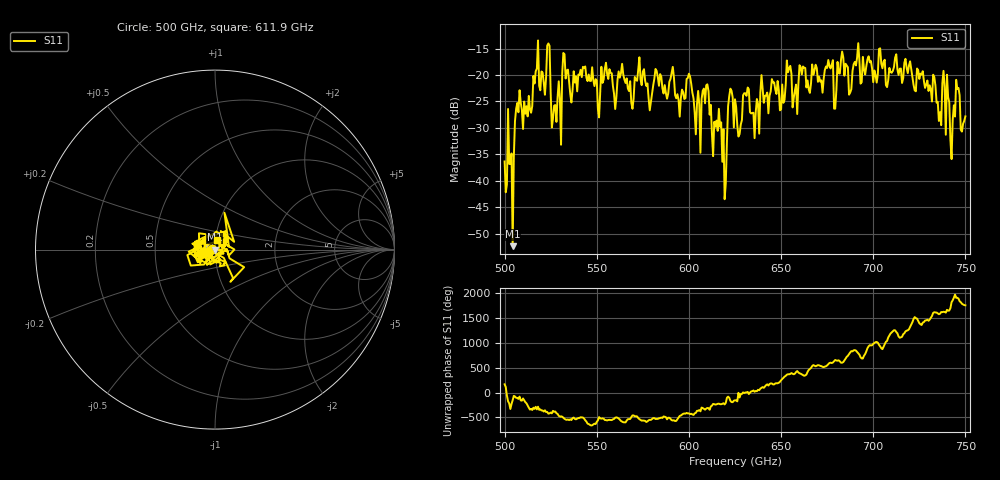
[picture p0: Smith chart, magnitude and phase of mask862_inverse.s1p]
!Created with skrf (http://scikit-rf.org).
# GHz S MA R 50.0
!freq magS11 angS11
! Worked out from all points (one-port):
!   401 points, 500 GHz to 750 GHz, reference 50 ohm
!   lowest |S11| = -52.3 dB at 504.4 GHz (marker M1), VSWR 1.00, Z = 49.8 - j0.106 ohm
!   |S11| at or under -10 dB: start of sweep to end of sweep
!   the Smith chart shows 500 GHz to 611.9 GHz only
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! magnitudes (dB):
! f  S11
! 500 GHz  -36.3
! 504.4 GHz  -52.3
! 506.9 GHz  -25.3
! 513.8 GHz  -26.5
! 516.9 GHz  -19.3
! 523.8 GHz  -14.0
! 526.9 GHz  -25.8
! 531.2 GHz  -19.7
! 562.5 GHz  -20.5
! 579.4 GHz  -25.1
! 590.6 GHz  -19.6
! 593.8 GHz  -23.6
! 600 GHz  -19.8
! 605 GHz  -23.0
! 609.4 GHz  -22.0
! 619.4 GHz  -43.5
! 622.5 GHz  -22.6
! 625 GHz  -24.6
! 656.2 GHz  -26.1
! 676.9 GHz  -18.8
! 680 GHz  -22.9
! 683.8 GHz  -16.7
! 687.5 GHz  -23.3
! 691.2 GHz  -16.7
! 718.8 GHz  -19.6
! 743.1 GHz  -28.4
! 745.6 GHz  -22.7
! 750 GHz  -27.8
